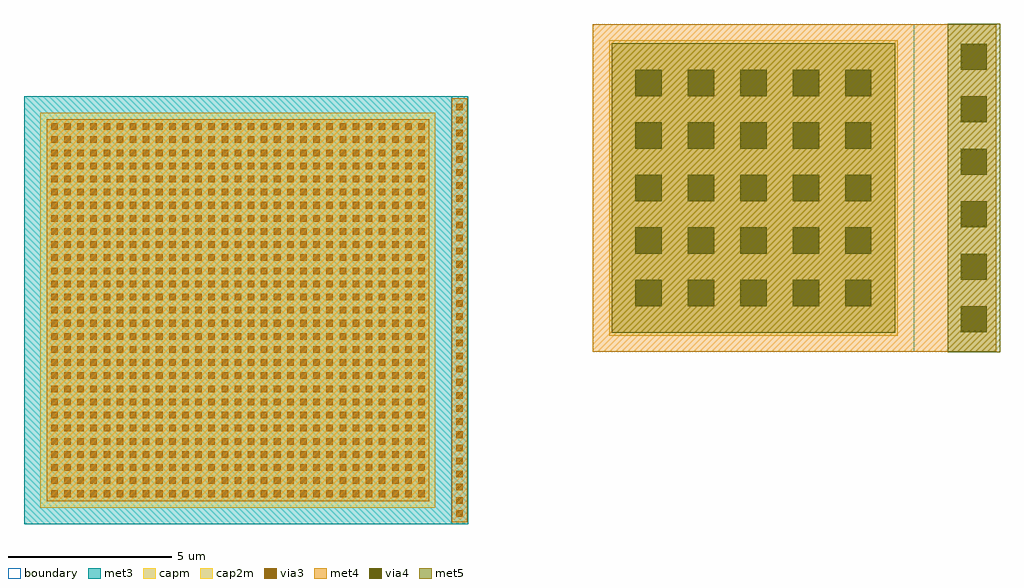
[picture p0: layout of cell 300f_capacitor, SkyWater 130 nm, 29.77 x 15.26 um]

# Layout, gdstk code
import gdstk
lib = gdstk.Library(unit=1e-6, precision=1e-09)
def R(c, l, rs):  # rectangles x0, y0, x1, y1
    for r in rs: c.add(gdstk.rectangle(r[:2], r[2:], *l))
def A(c, l, x, y, w, h, nx, ny, dx, dy):  # array of equal rectangles
    R(c, l, [(x+i*dx, y+j*dy, x+i*dx+w, y+j*dy+h) for i in range(nx) for j in range(ny)])
met3 = (70, 20)
via3 = (70, 44)
met4 = (71, 20)
via4 = (71, 44)
met5 = (72, 20)
capm = (89, 44)
cap2m = (97, 44)
boundary = (235, 4)

sky130_fd_pr__cap_mim_m3 = lib.new_cell('sky130_fd_pr__cap_mim_m3_2_EVCK7J')
R(sky130_fd_pr__cap_mim_m3, met4, [(-6.155,-5,6.155,5)])
A(sky130_fd_pr__cap_mim_m3, via4, 5.065, -4.4, 0.8, 0.8, 1, 6, 0, 1.6)
A(sky130_fd_pr__cap_mim_m3, via4, -4.855, -3.6, 0.8, 0.8, 5, 5, 1.6, 1.6)
R(sky130_fd_pr__cap_mim_m3, met5, [(4.665,-5.005,6.265,5.005), (-5.575,-4.42,3.065,4.42)])
R(sky130_fd_pr__cap_mim_m3, cap2m, [(-5.655,-4.5,3.145,4.5)])
R(sky130_fd_pr__cap_mim_m3, boundary, [(-6.155,-5,3.645,5)])

c_sky130_fd_pr__cap_mim_m3 = lib.new_cell('sky130_fd_pr__cap_mim_m3_1_NVRRZV')
R(c_sky130_fd_pr__cap_mim_m3, met3, [(-6.775,-6.525,6.77,6.525)])
A(c_sky130_fd_pr__cap_mim_m3, via3, 6.41, -6.3, 0.2, 0.2, 1, 32, 0, 0.4)
A(c_sky130_fd_pr__cap_mim_m3, via3, -5.95, -5.7, 0.2, 0.2, 29, 29, 0.4, 0.4)
R(c_sky130_fd_pr__cap_mim_m3, met4, [(6.27,-6.465,6.75,6.465), (-6.08,-5.83,5.58,5.83)])
R(c_sky130_fd_pr__cap_mim_m3, capm, [(-6.275,-6.025,5.775,6.025)])
R(c_sky130_fd_pr__cap_mim_m3, boundary, [(-6.775,-6.525,6.275,6.525)])

c_300f_capacitor = lib.new_cell('300f_capacitor')
c_300f_capacitor.add(gdstk.Reference(sky130_fd_pr__cap_mim_m3, (31.605,15.7)))
c_300f_capacitor.add(gdstk.Reference(c_sky130_fd_pr__cap_mim_m3, (14.875,11.975)))

lib.write_gds('300f_capacitor.gds')
